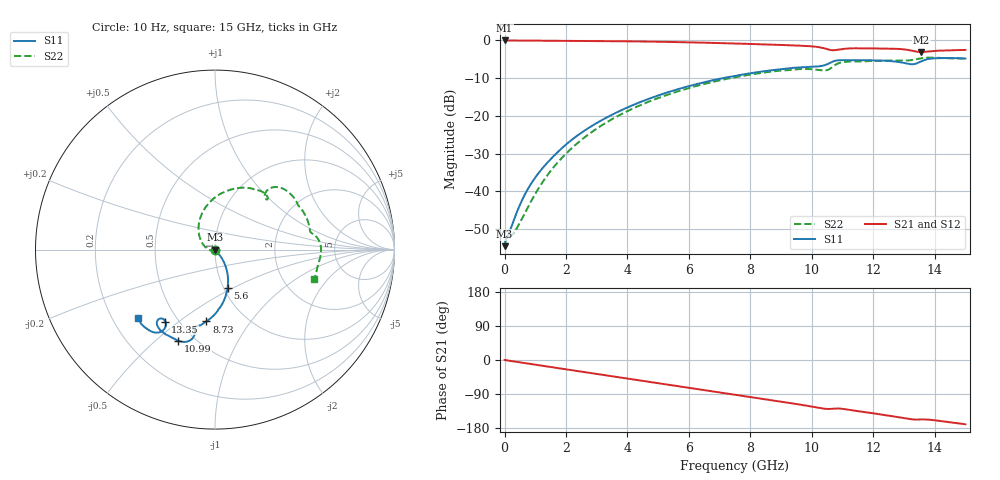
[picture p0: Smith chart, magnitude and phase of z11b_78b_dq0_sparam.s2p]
![Disclaimer] This software code/ model/ data and all associated documentation, comments
!    or other information (collectively "Software") is provided
!    "AS IS" without warranty of any kind. MICRON TECHNOLOGY, INC.
!   ("MTI") EXPRESSLY DISCLAIMS ALL WARRANTIES EXPRESS OR IMPLIED,
!    INCLUDING BUT NOT LIMITED TO, NONINFRINGEMENT OF THIRD PARTY
!   RIGHTS, AND ANY IMPLIED WARRANTIES OF MERCHANTABILITY OR FITNESS
!    FOR ANY PARTICULAR PURPOSE. MTI DOES NOT WARRANT THAT THE
!    SOFTWARE WILL MEET YOUR REQUIREMENTS, OR THAT THE OPERATION OF
!    THE SOFTWARE WILL BE UNINTERRUPTED OR ERROR-FREE. FURTHERMORE,
!    MTI DOES NOT MAKE ANY REPRESENTATIONS REGARDING THE USE OR THE
!    RESULTS OF THE USE OF THE SOFTWARE IN TERMS OF ITS CORRECTNESS,
!    ACCURACY, RELIABILITY, OR OTHERWISE. THE ENTIRE RISK ARISING OUT
!    OF USE OR PERFORMANCE OF THE SOFTWARE REMAINS WITH YOU. IN NO
!    EVENT SHALL MTI, ITS AFFILIATED COMPANIES OR THEIR SUPPLIERS BE
!    LIABLE FOR ANY DIRECT, INDIRECT, CONSEQUENTIAL, INCIDENTAL, OR
!    SPECIAL DAMAGES (INCLUDING, WITHOUT LIMITATION, DAMAGES FOR LOSS
!    OF PROFITS, BUSINESS INTERRUPTION, OR LOSS OF INFORMATION)
!    ARISING OUT OF YOUR USE OF OR INABILITY TO USE THE SOFTWARE,
!    EVEN IF MTI HAS BEEN ADVISED OF THE POSSIBILITY OF SUCH DAMAGES.
!    Because some jurisdictions prohibit the exclusion or limitation
!    of liability for consequential or incidental damages, the above
!    limitation may not apply to you.
!    Copyright 2019 Micron Technology, Inc. All rights reserved.
! Single-ended  S-parameters
!NUMBER OF PORTS = 2
!  PORT#  PORT_NAME  NET_NAME
! PORT1:  DQ0.BGA.VDDQ_VSS DQ0
! PORT2:  DQ0.Z11B_DIE.VDDQ_VSS DQ0
# HZ S  RI R 5.000000e+001
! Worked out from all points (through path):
!   1701 points, 10 Hz to 15 GHz, reference 50 ohm
!   highest |S21| = -0.02 dB at 3.687 kHz (marker M1); lowest = -3.1 dB at 13.56 GHz (marker M2)
!   group delay of S21, straight-line fit = 32.3 ps
!   lowest |S11| = -54.6 dB at 10 Hz (marker M3), VSWR 1.00, Z = 50.2 + j5.78e-08 ohm
!   |S11| at or under -10 dB: start of sweep to 7.107 GHz
!   |S22| runs from -54.6 to -4.6 dB; largest |S21 - S12| = 0
!   S11 on the Smith chart (normalised r, x): 10 Hz: 1.00, +0.00; 5.6 GHz: 1.05, -0.47; 8.73 GHz: 0.67, -0.64; 10.99 GHz: 0.41, -0.59; 13.35 GHz: 0.43, -0.45; 15 GHz: 0.31, -0.35
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10  0.00187 5.75e-10  0.9981 -2.98e-09  0.9981 -2.98e-09  0.00187 5.78e-10
3686.95  0.00187 2.12e-07  0.9981 -1.1e-06  0.9981 -1.1e-06  0.00187 2.13e-07
5.01187e7  0.00229 -0.000225  0.9975 -0.0113  0.9975 -0.0113  0.00225 -0.000209
2.8e8  0.00317 -0.0023  0.9948 -0.0614  0.9948 -0.0614  0.00177 -0.00211
4.9e8  0.00465 -0.00451  0.9898 -0.1066  0.9898 -0.1066  0.000463 -0.00375
9.3e8  0.00914 -0.0104  0.973 -0.1986  0.973 -0.1986  -0.00508 -0.00651
1.63e9  0.0197 -0.0228  0.9297 -0.3401  0.9297 -0.3401  -0.0208 -0.00588
2.51e9  0.0372 -0.0471  0.8454 -0.5046  0.8454 -0.5046  -0.0476 0.00845
3.64e9  0.0591 -0.0933  0.694 -0.6864  0.694 -0.6864  -0.0803 0.0547
5.01e9  0.0728 -0.172  0.4567 -0.8441  0.4567 -0.8441  -0.089 0.1478
5.6e9  0.0703 -0.2114  0.3428 -0.8861  0.3428 -0.8861  -0.0753 0.1942
7.51e9  0.017 -0.3376  -0.0331 -0.9081  -0.0331 -0.9081  0.0519 0.3204
8.73e9  -0.0483 -0.4004  -0.2545 -0.8403  -0.2545 -0.8403  0.1786 0.3443
1.001e10  -0.1152 -0.4307  -0.4551 -0.6986  -0.4551 -0.6986  0.2927 0.2936
1.059e10  -0.1201 -0.4874  -0.4721 -0.581  -0.4721 -0.581  0.2796 0.3135
1.099e10  -0.206 -0.5071  -0.4817 -0.5986  -0.4817 -0.5986  0.3884 0.3349
1.141e10  -0.2495 -0.484  -0.5449 -0.5669  -0.5449 -0.5669  0.45 0.2741
1.251e10  -0.3193 -0.4278  -0.6523 -0.4264  -0.6523 -0.4264  0.5197 0.1505
1.335e10  -0.2759 -0.4011  -0.6593 -0.2785  -0.6593 -0.2785  0.5514 0.0838
1.356e10  -0.2838 -0.4438  -0.6453 -0.2749  -0.6453 -0.2749  0.5757 0.057
1.41e10  -0.3704 -0.4473  -0.6862 -0.2478  -0.6862 -0.2478  0.5859 -0.0436
1.5e10  -0.4272 -0.3837  -0.7359 -0.1347  -0.7359 -0.1347  0.551 -0.1638
